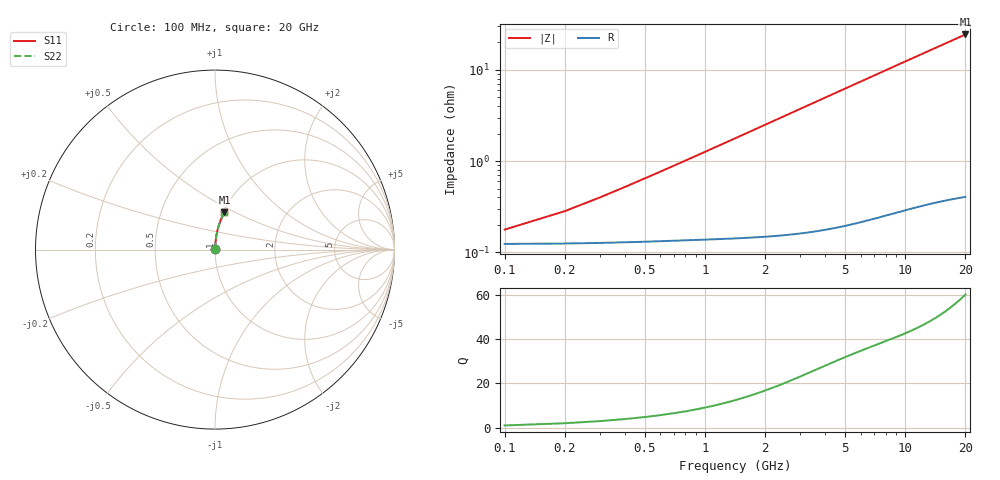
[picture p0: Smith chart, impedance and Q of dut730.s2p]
! Touchstone file exported from HFSS 2024.1.0
!  File:  C:/UserFiles/LocalFiles/RDL_TSV_Batchsim/temp_RDL_top_730_1779850993.aedt
!  Generated:  11:05:45 AM May 27, 2026
!  Design:  RDL_top
!  Project:  temp_RDL_top_730_1779850993
!  Setup:  Setup1
!  Solution:  Sweep
! Variables:
!  dtsv = 10.80580581um
!  hbump = 3um
!  htsv = 99.47um
!  ldown = 100um
!  lrdl = 131.87um
!  p = 40
!  p1 = 57.7um
!  rhole = 1um
!  t = 450um
!  tdown = 3.915915916um
!  trdl = 3.91um
!  wdown = 15.38538539um
!  wrdl = 10.85um
# GHz S MA R 50.000000
! Terminal data exported
! Port[1] = Box2_T1
! Port[2] = Box2_T2
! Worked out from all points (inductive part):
!   200 points, 100 MHz to 20 GHz, reference 50 ohm
!   read as one part in series: L = 201 pH near 400 MHz
!   highest Q = 60.2 at 20 GHz (marker M1), where L = 194 pH
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0.1  0.001655 41.6  0.9988 -0.1  0.9988 -0.1  0.001655 41.6
! Gamma 0 0 0 0
! Port Impedance 50 0 50 0
0.2  0.002525 60.2  0.9987 -0.2  0.9987 -0.2  0.002525 60.2
0.3  0.003519 68.7  0.9987 -0.2  0.9987 -0.2  0.003519 68.7
0.4  0.004549 73.4  0.9987 -0.3  0.9987 -0.3  0.004549 73.4
0.5  0.005594 76.3  0.9987 -0.4  0.9987 -0.4  0.005594 76.3
0.6  0.006646 78.2  0.9986 -0.5  0.9986 -0.5  0.006646 78.2
0.8  0.008759 80.7  0.9986 -0.7  0.9986 -0.7  0.008759 80.7
1.1  0.01194 82.8  0.9985 -0.9  0.9985 -0.9  0.01194 82.8
1.5  0.01621 84.3  0.9983 -1.2  0.9983 -1.2  0.01621 84.3
1.8  0.01941 84.9  0.9981 -1.5  0.9981 -1.5  0.01941 84.9
2.1  0.02262 85.2  0.998 -1.7  0.998 -1.7  0.02262 85.2
2.7  0.02906 85.6  0.9975 -2.2  0.9975 -2.2  0.02906 85.6
3.5  0.03765 85.8  0.9968 -2.8  0.9968 -2.8  0.03765 85.8
4.2  0.04518 85.7  0.9961 -3.4  0.9961 -3.4  0.04518 85.7
5  0.05381 85.4  0.9952 -4.0  0.9952 -4.0  0.05381 85.4
5.9  0.06353 85.1  0.994 -4.7  0.994 -4.7  0.06353 85.1
6.8  0.07326 84.6  0.9926 -5.4  0.9926 -5.4  0.07326 84.6
8.3  0.0895 83.8  0.9902 -6.6  0.9902 -6.6  0.0895 83.8
10.1  0.109 82.7  0.987 -7.9  0.987 -7.9  0.109 82.7
13.4  0.1445 80.5  0.9804 -10.4  0.9804 -10.4  0.1445 80.5
16.7  0.1794 78.1  0.9729 -12.8  0.9729 -12.8  0.1794 78.1
20  0.2136 75.8  0.9647 -15.1  0.9647 -15.1  0.2136 75.8
